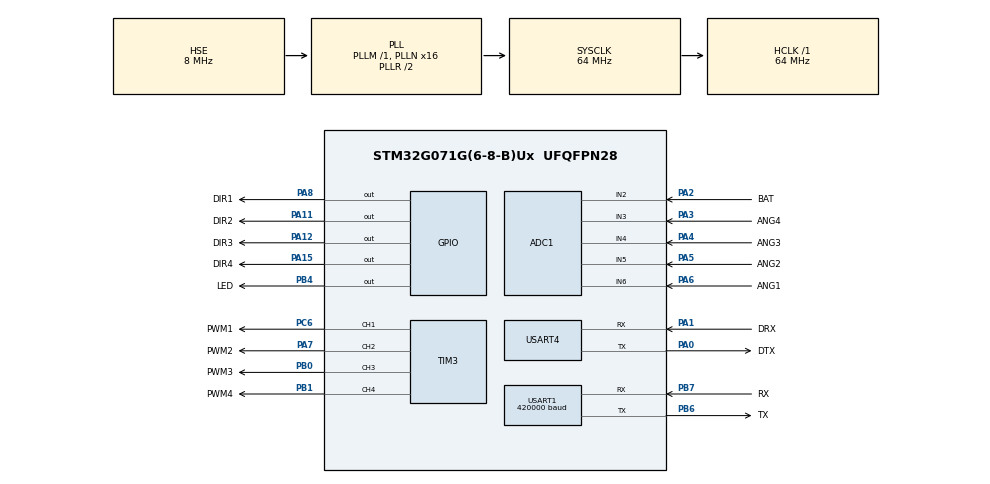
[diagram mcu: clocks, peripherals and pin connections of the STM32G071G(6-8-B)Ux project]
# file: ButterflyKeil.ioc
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ADC1.Channel-1\#ChannelRegularConversion=ADC_CHANNEL_2
ADC1.Channel-3\#ChannelRegularConversion=ADC_CHANNEL_6
ADC1.Channel-4\#ChannelRegularConversion=ADC_CHANNEL_3
ADC1.EOCSelection=ADC_EOC_SINGLE_CONV
ADC1.EnableAnalogWatchDog1=false
ADC1.NbrOfConversion=3
ADC1.NbrOfConversionFlag=1
ADC1.Rank-1\#ChannelRegularConversion=1
ADC1.Rank-3\#ChannelRegularConversion=2
ADC1.Rank-4\#ChannelRegularConversion=3
ADC1.SamplingTime-1\#ChannelRegularConversion=ADC_SAMPLINGTIME_COMMON_1
ADC1.SamplingTime-3\#ChannelRegularConversion=ADC_SAMPLINGTIME_COMMON_2
ADC1.SamplingTime-4\#ChannelRegularConversion=ADC_SAMPLINGTIME_COMMON_2
ADC1.SamplingTimeCommon1=ADC_SAMPLETIME_12CYCLES_5
ADC1.SamplingTimeCommon2=ADC_SAMPLETIME_160CYCLES_5
ADC1.SelectedChannel=ADC_CHANNEL_2|ADC_CHANNEL_3|ADC_CHANNEL_4|ADC_CHANNEL_5|ADC_CHANNEL_6
ADC1.master=1
Dma.Request0=USART1_RX
Dma.USART1_RX.0.Direction=DMA_PERIPH_TO_MEMORY
Dma.USART1_RX.0.EventEnable=DISABLE
Dma.USART1_RX.0.Instance=DMA1_Channel1
Dma.USART1_RX.0.MemDataAlignment=DMA_MDATAALIGN_BYTE
Dma.USART1_RX.0.MemInc=DMA_MINC_ENABLE
Dma.USART1_RX.0.Mode=DMA_CIRCULAR
Dma.USART1_RX.0.PeriphDataAlignment=DMA_PDATAALIGN_BYTE
Dma.USART1_RX.0.PeriphInc=DMA_PINC_DISABLE
Dma.USART1_RX.0.Polarity=HAL_DMAMUX_REQ_GEN_RISING
Dma.USART1_RX.0.Priority=DMA_PRIORITY_MEDIUM
Dma.USART1_RX.0.RequestNumber=1
Dma.USART1_RX.0.SignalID=NONE
Dma.USART1_RX.0.SyncEnable=DISABLE
Dma.USART1_RX.0.SyncPolarity=HAL_DMAMUX_SYNC_NO_EVENT
Dma.USART1_RX.0.SyncRequestNumber=1
Dma.USART1_RX.0.SyncSignalID=NONE
Mcu.Family=STM32G0
Mcu.Name=STM32G071G(6-8-B)Ux
Mcu.Package=UFQFPN28
NVIC.DMA1_Channel1_IRQn=true\:0\:0\:false\:false\:true\:false\:true\:true
NVIC.USART1_IRQn=true\:0\:0\:false\:false\:true\:true\:true\:true
PA0.GPIO_Label=DTX
PA0.Mode=Asynchronous
PA0.Signal=USART4_TX
PA1.GPIO_Label=DRX
PA1.Mode=Asynchronous
PA1.Signal=USART4_RX
PA11\ [PA9].GPIO_Label=DIR2
PA11\ [PA9].Signal=GPIO_Output
PA12\ [PA10].GPIO_Label=DIR3
PA12\ [PA10].Signal=GPIO_Output
PA13.GPIO_Label=SWDIO
PA13.Mode=Serial_Wire
PA13.Signal=SYS_SWDIO
PA14-BOOT0.GPIO_Label=SWCLK
PA14-BOOT0.Mode=Serial_Wire
PA14-BOOT0.Signal=SYS_SWCLK
PA15.GPIO_Label=DIR4
PA15.Signal=GPIO_Output
PA2.GPIO_Label=BAT
PA2.Mode=IN2
PA2.Signal=ADC1_IN2
PA3.GPIO_Label=ANG4
PA3.Mode=IN3
PA3.Signal=ADC1_IN3
PA4.GPIO_Label=ANG3
PA4.Mode=IN4
PA4.Signal=ADC1_IN4
PA5.GPIO_Label=ANG2
PA5.Mode=IN5
PA5.Signal=ADC1_IN5
PA6.GPIO_Label=ANG1
PA6.Mode=IN6
PA6.Signal=ADC1_IN6
PA7.GPIO_Label=PWM2
PA7.Signal=S_TIM3_CH2
PA8.GPIO_Label=DIR1
PA8.Signal=GPIO_Output
PB0.GPIO_Label=PWM3
PB0.Signal=S_TIM3_CH3
PB1.GPIO_Label=PWM4
PB1.Signal=S_TIM3_CH4
PB4.GPIO_Label=LED
PB4.Signal=GPIO_Output
PB6.GPIO_Label=TX
PB6.Mode=Asynchronous
PB6.Signal=USART1_TX
PB7.GPIO_Label=RX
PB7.Mode=Asynchronous
PB7.Signal=USART1_RX
PC14-OSC32_IN\ (PC14).GPIO_Label=OSC_IN
PC14-OSC32_IN\ (PC14).Mode=HSE-External-Clock-Source
PC14-OSC32_IN\ (PC14).Signal=RCC_OSC_IN
PC15-OSC32_OUT\ (PC15).GPIO_Label=OSC_EN
PC15-OSC32_OUT\ (PC15).Mode=OSC enable
PC15-OSC32_OUT\ (PC15).Signal=RCC_OSC_EN
PC6.GPIO_Label=PWM1
PC6.Signal=S_TIM3_CH1
ProjectManager.HeapSize=0x200
ProjectManager.StackSize=0x400
ProjectManager.TargetToolchain=MDK-ARM V5.32
RCC.ADCFreq_Value=64000000
RCC.AHBFreq_Value=64000000
RCC.CortexFreq_Value=64000000
RCC.EXTERNAL_CLOCK_VALUE=48000
RCC.HCLKFreq_Value=64000000
RCC.HSE_VALUE=8000000
RCC.HSI_VALUE=16000000
RCC.LSE_VALUE=32768
RCC.PLLN=16
RCC.PLLSourceVirtual=RCC_PLLSOURCE_HSE
RCC.SYSCLKFreq_VALUE=64000000
RCC.SYSCLKSource=RCC_SYSCLKSOURCE_PLLCLK
RCC.VCOOutputFreq_Value=128000000
SH.S_TIM3_CH1.0=TIM3_CH1,PWM Generation1 CH1
SH.S_TIM3_CH2.0=TIM3_CH2,PWM Generation2 CH2
SH.S_TIM3_CH3.0=TIM3_CH3,PWM Generation3 CH3
SH.S_TIM3_CH4.0=TIM3_CH4,PWM Generation4 CH4
TIM3.Channel-PWM\ Generation1\ CH1=TIM_CHANNEL_1
TIM3.Channel-PWM\ Generation2\ CH2=TIM_CHANNEL_2
TIM3.Channel-PWM\ Generation3\ CH3=TIM_CHANNEL_3
TIM3.Channel-PWM\ Generation4\ CH4=TIM_CHANNEL_4
USART1.BaudRate=420000
USART1.VirtualMode-Asynchronous=VM_ASYNC
USART4.VirtualMode-Asynchronous=VM_ASYNC
board=custom

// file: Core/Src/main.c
/* USER CODE BEGIN Header */
/**
  ******************************************************************************
  * @file           : main.c
  * @brief          : Main program body
  ******************************************************************************
  * @attention
  *
  * Copyright (c) 2026 STMicroelectronics.
  * All rights reserved.
  *
  * This software is licensed under terms that can be found in the LICENSE file
  * in the root directory of this software component.
  * If no LICENSE file comes with this software, it is provided AS-IS.
  *
  ******************************************************************************
  */
/* USER CODE END Header */
#include "main.h"
#include "adc.h"
#include "dma.h"
#include "tim.h"
#include "usart.h"
#include "gpio.h"

/* USER CODE BEGIN Includes */
#include "motor.h"  /* 包含电机控制模块头文件 */
#include "crsf.h"   /* 包含CRSF协议接收模块头文件 */
#include <string.h>  /* 包含字符串处理函数 */
#include <stdio.h>   /* 包含标准输入输出函数 */
/* USER CODE END Includes */

/* USER CODE BEGIN PM */
#define LED_ON()    HAL_GPIO_WritePin(LED_GPIO_Port, LED_Pin, GPIO_PIN_RESET)
#define LED_OFF()   HAL_GPIO_WritePin(LED_GPIO_Port, LED_Pin, GPIO_PIN_SET)
#define LED_TOGGLE() HAL_GPIO_TogglePin(LED_GPIO_Port, LED_Pin)
/* USER CODE END PM */

/* USER CODE BEGIN PV */

/* 电池电压变量 */
float batteryVoltage = 0.0f;
/* 霍尔传感器变量 */
float hallSensorValue = 0.0f;      /* 第一个霍尔传感器 */
float hallSensorValue2 = 0.0f;     /* 第二个霍尔传感器 */
/* 调试用：原始ADC值 */
uint32_t debug_adc_value = 0;
uint32_t debug_hall_adc_value = 0;
uint32_t debug_hall_adc_value2 = 0;
/* 霍尔传感器统计数据 */
float hall_min = 4095.0f;
float hall_max = 0.0f;
float hall_sum_total = 0.0f;
int hall_count = 0;
float hall_avg_total = 0.0f;

/* 电机控制参数 - 可配置 */
float hall_threshold_low = 1.6f;    /* 低位阈值（V） */
float hall_threshold_high = 2.6f;   /* 高位阈值（V） */

/* 电机4霍尔传感器参数 - 独立配置 */
float hall_threshold_low_m4 = 1.5f;    /* 电机4低位阈值（V） */
float hall_threshold_high_m4 = 2.5f;   /* 电机4高位阈值（V） */

/* 定义运行状态 */
typedef enum {
    FLAP_UP,
    FLAP_DOWN
} FlapState_t;

typedef struct {
    float kp;
    float ki;
    float kd;
    float integral;
    float prev_error;
    float output_limit;
    float integral_limit;
} SyncPid_t;

static FlapState_t current_state = FLAP_UP;
static FlapState_t current_state_m4 = FLAP_DOWN;
float k_comp;
float k_comp_m4;
float stand_wing_target_m1 = 2.90f;      /* 立翅目标霍尔电压，可按实测调整 */
float stand_wing_target_m4 = 1.20f;      /* 立翅目标霍尔电压，可按实测调整 */
float stand_wing_deadband = 0.03f;       /* 立翅保持死区 */
float stand_wing_kp = 1800.0f;           /* 立翅位置控制比例系数 */
int16_t stand_wing_min_speed = 120;      /* 立翅最小驱动速度，克服静摩擦 */
int16_t stand_wing_max_speed = 420;      /* 立翅最大驱动速度 */
static uint8_t stand_wing_mode_active = 0;
static float sync_phase_error = 0.0f;
static float sync_pid_output = 0.0f;
static float wing_phase_left = 0.0f;
static float wing_phase_right = 0.0f;
static int16_t sync_speed_motor1 = 0;
static int16_t sync_speed_motor4 = 0;
static uint32_t crsf_rx_recover_tick = 0;

static SyncPid_t flap_sync_pid = {
    .kp = 420.0f,
    .ki = 10.0f,
    .kd = 90.0f,
    .integral = 0.0f,
    .prev_error = 0.0f,
    .output_limit = 220.0f,
    .integral_limit = 0.30f
};
/* USER CODE END PV */

void SystemClock_Config(void);
/* USER CODE BEGIN PFP */
void SendJoystickData(void);
static void InitFlapStates(void);
void Flap_Control_Logic(int16_t base_speed);
void Flap_Control_Logic_Motor4(int16_t base_speed);
static void SyncPid_Reset(SyncPid_t *pid);
static void UpdateStandWingControl(void);
static int16_t CalcStandWingSpeed(float hall_value, float target_value, int8_t hall_polarity);
static void UpdateFlapSyncSpeed(int16_t base_speed, int16_t *speed_m1, int16_t *speed_m4);
void ReadSensors(void);
/* USER CODE END PFP */

int main(void)
{

  /* MCU Configuration--------------------------------------------------------*/

  /* Reset of all peripherals, Initializes the Flash interface and the Systick. */
  HAL_Init();

  /* Configure the system clock */
  SystemClock_Config();

  /* Initialize all configured peripherals */
  MX_GPIO_Init();
  MX_DMA_Init();
  MX_ADC1_Init();
  MX_TIM3_Init();
  MX_USART1_UART_Init();
  MX_USART4_UART_Init();
  /* USER CODE BEGIN 2 */

  /* 初始化电机控制模块 */
  MotorControl_Init();

  /* 初始化CRSF协议接收模块 */
  CRSF_Init();

  /* 执行ADC自校准 */
  if (HAL_ADCEx_Calibration_Start(&hadc1) != HAL_OK)
  {
    Error_Handler();
  }

  /* 点亮LED指示灯，表示系统初始化完成 */
  LED_ON();

  /* 初始化电机控制参数 */
  k_comp=(hall_threshold_high-hall_threshold_low)*0.4*0.5/1000.0f ;
  k_comp_m4=(hall_threshold_high_m4-hall_threshold_low_m4)*0.4*0.5/1000.0f ;

  /* 根据上电时霍尔位置初始化两个翅膀的拍动方向 */
  ReadSensors();
  InitFlapStates();

  /* USER CODE END 2 */

  /* Infinite loop */
  while (1)
  {

    /* USER CODE BEGIN 3 */
    if ((HAL_GetTick() - CRSF_GetLastRxTick()) > 500U &&
        (HAL_GetTick() - crsf_rx_recover_tick) > 200U)
    {
      CRSF_RestartRx();
      crsf_rx_recover_tick = HAL_GetTick();
    }

    ReadSensors();

    if (crsf_data.F == 1) {
      if (stand_wing_mode_active == 0) {
        stand_wing_mode_active = 1;
        SyncPid_Reset(&flap_sync_pid);
      }
      UpdateStandWingControl();
    } else {
      if (stand_wing_mode_active == 1) {
        stand_wing_mode_active = 0;
        InitFlapStates();
      }

      /* 基于霍尔传感器值的扑翼控制 */
      /* 当霍尔传感器值在低位死区上限和高位死区下限之间时，电机正转 */
      /* 当霍尔传感器值低于低位阈值或高于高位阈值时，电机反转 */
      /* 当霍尔传感器值在死区范围内时，保持当前方向不变 */
      /* 速度由摇杆控制 */
      int16_t base_speed = (int16_t)(crsf_data.Left_Y * 10.0f);
      UpdateFlapSyncSpeed(base_speed, &sync_speed_motor1, &sync_speed_motor4);
      Flap_Control_Logic(sync_speed_motor1);
      Flap_Control_Logic_Motor4(sync_speed_motor4);
    }
    /* 发送摇杆数据到USART1 */
    SendJoystickData();
    /* 延时1ms，控制频率约200Hz */
    HAL_Delay(1);

  }
  /* USER CODE END 3 */
}

void SystemClock_Config(void)
{
  RCC_OscInitTypeDef RCC_OscInitStruct = {0};
  RCC_ClkInitTypeDef RCC_ClkInitStruct = {0};

  /** Configure the main internal regulator output voltage
  */
  HAL_PWREx_ControlVoltageScaling(PWR_REGULATOR_VOLTAGE_SCALE1);

  /** Initializes the RCC Oscillators according to the specified parameters
  * in the RCC_OscInitTypeDef structure.
  */
  RCC_OscInitStruct.OscillatorType = RCC_OSCILLATORTYPE_HSE;
  RCC_OscInitStruct.HSEState = RCC_HSE_BYPASS;
  RCC_OscInitStruct.PLL.PLLState = RCC_PLL_ON;
  RCC_OscInitStruct.PLL.PLLSource = RCC_PLLSOURCE_HSE;
  RCC_OscInitStruct.PLL.PLLM = RCC_PLLM_DIV1;
  RCC_OscInitStruct.PLL.PLLN = 16;
  RCC_OscInitStruct.PLL.PLLP = RCC_PLLP_DIV2;
  RCC_OscInitStruct.PLL.PLLQ = RCC_PLLQ_DIV2;
  RCC_OscInitStruct.PLL.PLLR = RCC_PLLR_DIV2;
  if (HAL_RCC_OscConfig(&RCC_OscInitStruct) != HAL_OK)
  {
    Error_Handler();
  }

  /** Initializes the CPU, AHB and APB buses clocks
  */
  RCC_ClkInitStruct.ClockType = RCC_CLOCKTYPE_HCLK|RCC_CLOCKTYPE_SYSCLK
                              |RCC_CLOCKTYPE_PCLK1;
  RCC_ClkInitStruct.SYSCLKSource = RCC_SYSCLKSOURCE_PLLCLK;
  RCC_ClkInitStruct.AHBCLKDivider = RCC_SYSCLK_DIV1;
  RCC_ClkInitStruct.APB1CLKDivider = RCC_HCLK_DIV1;

  if (HAL_RCC_ClockConfig(&RCC_ClkInitStruct, FLASH_LATENCY_2) != HAL_OK)
  {
    Error_Handler();
  }
}

/* USER CODE BEGIN 4 */

/**
  * @brief  读取电池电压和霍尔传感器值
  * @param  无
  * @retval 无
  */
void ReadSensors(void)
{
  uint32_t adc_buf[3] = {0};

  HAL_ADC_Start(&hadc1);

  // 等待并读取通道2（电池）
  if (HAL_ADC_PollForConversion(&hadc1, 10) == HAL_OK)
  {
    adc_buf[0] = HAL_ADC_GetValue(&hadc1);
    __HAL_ADC_CLEAR_FLAG(&hadc1, ADC_FLAG_EOC); // 清标志
  }

  // 等待并读取通道3（霍尔1）
  if (HAL_ADC_PollForConversion(&hadc1, 10) == HAL_OK)
  {
    adc_buf[1] = HAL_ADC_GetValue(&hadc1);
    __HAL_ADC_CLEAR_FLAG(&hadc1, ADC_FLAG_EOC); // 清标志
  }

  // 等待并读取通道4（霍尔2）
  if (HAL_ADC_PollForConversion(&hadc1, 10) == HAL_OK)
  {
    adc_buf[2] = HAL_ADC_GetValue(&hadc1);
    __HAL_ADC_CLEAR_FLAG(&hadc1, ADC_FLAG_EOC); // 清标志
  }

  HAL_ADC_Stop(&hadc1);

  debug_adc_value = adc_buf[0];
  debug_hall_adc_value = adc_buf[1];
  debug_hall_adc_value2 = adc_buf[2];

  batteryVoltage = (float)adc_buf[0] * 3.3f / 4095.0f * 2.598f;
  hallSensorValue = (float)adc_buf[1] * 3.3f / 4095.0f;
  hallSensorValue2 = (float)adc_buf[2] * 3.3f / 4095.0f;
}
/**
  * @brief  发送摇杆数据到USART1
  * @param  无
  * @retval 无
  */
void SendJoystickData(void)
{
  char buffer[150];

  /* 按照CSV格式格式化数据 - 添加原始ADC值和霍尔传感器数据用于调试 */
  sprintf(buffer, "%.1f,%.1f,%.1f,%.1f,%.1f,%.1f,%d,%d,%d,%d,%d,%d,%.2f,%lu,%.3f,%lu,%.3f,%lu,%.3f,%.3f,%.3f,%d,%d\r\n",
          crsf_data.Left_X, crsf_data.Left_Y, crsf_data.Right_X, crsf_data.Right_Y,
          crsf_data.S1, crsf_data.S2,
          crsf_data.A, crsf_data.B, crsf_data.C, crsf_data.D, crsf_data.E, crsf_data.F,
          batteryVoltage, debug_adc_value,
          hallSensorValue, debug_hall_adc_value,
          hallSensorValue2, debug_hall_adc_value2,
          sync_phase_error, wing_phase_left, wing_phase_right,
          current_state, current_state_m4);

  /* 使用非阻塞方式发送数据，设置较短的超时时间 */
  HAL_UART_Transmit(&huart1, (uint8_t*)buffer, strlen(buffer), 10);
}

static float ClampFloat(float value, float min_value, float max_value)
{
    if (value < min_value) {
        return min_value;
    }
    if (value > max_value) {
        return max_value;
    }
    return value;
}

static int16_t ClampMotorSpeed(int32_t speed)
{
    if (speed < 0) {
        return 0;
    }
    if (speed > 1000) {
        return 1000;
    }
    return (int16_t)speed;
}

static int16_t ClampSignedMotorSpeed(int32_t speed)
{
    if (speed < -1000) {
        return -1000;
    }
    if (speed > 1000) {
        return 1000;
    }
    return (int16_t)speed;
}

static float WrapPhaseError(float error)
{
    if (error > 0.5f) {
        return error - 1.0f;
    }
    if (error < -0.5f) {
        return error + 1.0f;
    }
    return error;
}

static float WrapPhase01(float phase)
{
    if (phase >= 1.0f) {
        return phase - 1.0f;
    }
    if (phase < 0.0f) {
        return phase + 1.0f;
    }
    return phase;
}

static void SyncPid_Reset(SyncPid_t *pid)
{
    pid->integral = 0.0f;
    pid->prev_error = 0.0f;
}

static float SyncPid_Update(SyncPid_t *pid, float error)
{
    float derivative = error - pid->prev_error;

    pid->integral += error;
    pid->integral = ClampFloat(pid->integral, -pid->integral_limit, pid->integral_limit);

    pid->prev_error = error;

    return ClampFloat((pid->kp * error) + (pid->ki * pid->integral) + (pid->kd * derivative),
                      -pid->output_limit,
                      pid->output_limit);
}

static float GetWingPhase(float hall_value, float threshold_low, float threshold_high, FlapState_t state)
{
    float span = threshold_high - threshold_low;
    float normalized;

    if (span <= 0.01f) {
        return 0.0f;
    }

    normalized = ClampFloat((hall_value - threshold_low) / span, 0.0f, 1.0f);

    if (state == FLAP_UP) {
        return normalized * 0.5f;
    }

    return 0.5f + ((1.0f - normalized) * 0.5f);
}

static void InitFlapStates(void)
{
    float hall_mid = (hall_threshold_low + hall_threshold_high) * 0.5f;
    float hall_mid_m4 = (hall_threshold_low_m4 + hall_threshold_high_m4) * 0.5f;

    current_state = (hallSensorValue >= hall_mid) ? FLAP_DOWN : FLAP_UP;
    current_state_m4 = (hallSensorValue2 >= hall_mid_m4) ? FLAP_DOWN : FLAP_UP;

    SyncPid_Reset(&flap_sync_pid);
}

static int16_t CalcStandWingSpeed(float hall_value, float target_value, int8_t hall_polarity)
{
    float error = target_value - hall_value;
    float abs_error = (error >= 0.0f) ? error : -error;
    int32_t command;

    if (abs_error <= stand_wing_deadband) {
        return 0;
    }

    command = (int32_t)(error * stand_wing_kp);

    if (command > 0 && command < stand_wing_min_speed) {
        command = stand_wing_min_speed;
    } else if (command < 0 && command > -stand_wing_min_speed) {
        command = -stand_wing_min_speed;
    }

    if (command > stand_wing_max_speed) {
        command = stand_wing_max_speed;
    } else if (command < -stand_wing_max_speed) {
        command = -stand_wing_max_speed;
    }

    return ClampSignedMotorSpeed((int32_t)hall_polarity * command);
}

static void UpdateStandWingControl(void)
{
    int16_t speed_m1 = CalcStandWingSpeed(hallSensorValue, stand_wing_target_m1, 1);
    int16_t speed_m4 = CalcStandWingSpeed(hallSensorValue2, stand_wing_target_m4, -1);

    sync_phase_error = 0.0f;
    sync_pid_output = 0.0f;
    wing_phase_left = GetWingPhase(hallSensorValue, hall_threshold_low, hall_threshold_high, current_state);
    wing_phase_right = GetWingPhase(hallSensorValue2, hall_threshold_low_m4, hall_threshold_high_m4, current_state_m4);

    Motor_SetSpeed(MOTOR_1, speed_m1);
    Motor_SetSpeed(MOTOR_4, speed_m4);
}

static void UpdateFlapSyncSpeed(int16_t base_speed, int16_t *speed_m1, int16_t *speed_m4)
{
    const int16_t sync_enable_speed = 80;
    const float sync_deadband = 0.01f;
    int16_t speed_abs = (base_speed >= 0) ? base_speed : (int16_t)(-base_speed);
    float abs_phase_error;
    float target_right_phase;

    wing_phase_left = GetWingPhase(hallSensorValue, hall_threshold_low, hall_threshold_high, current_state);
    wing_phase_right = GetWingPhase(hallSensorValue2, hall_threshold_low_m4, hall_threshold_high_m4, current_state_m4);

    if (speed_abs < sync_enable_speed) {
        SyncPid_Reset(&flap_sync_pid);
        sync_phase_error = 0.0f;
        sync_pid_output = 0.0f;
        *speed_m1 = speed_abs;
        *speed_m4 = speed_abs;
        return;
    }

    /* 蝴蝶双翼需要反相同步：右翼目标相位始终比左翼超前半个周期。 */
    target_right_phase = WrapPhase01(wing_phase_left + 0.5f);
    sync_phase_error = WrapPhaseError(target_right_phase - wing_phase_right);
    abs_phase_error = (sync_phase_error >= 0.0f) ? sync_phase_error : -sync_phase_error;

    if (abs_phase_error < sync_deadband) {
        sync_phase_error = 0.0f;
    }

    sync_pid_output = SyncPid_Update(&flap_sync_pid, sync_phase_error);

    /* 误差为正说明右翼落后于反相目标，需要加快右翼并稍微减慢左翼。 */
    *speed_m1 = ClampMotorSpeed((int32_t)speed_abs - (int32_t)sync_pid_output);
    *speed_m4 = ClampMotorSpeed((int32_t)speed_abs + (int32_t)sync_pid_output);
}

void Flap_Control_Logic(int16_t speed)
{
    static int filter_count = 0;
    const int FILTER_THRESHOLD = 2; // 略微减小滤波，提高响应速度

    // 1. 计算绝对速度，用于线性补偿
    uint16_t abs_speed = (speed > 0) ? speed : -speed;

    // 2. 计算动态阈值 (线性缩减边界)
    // 假设 speed 最大为 1000，k_comp 为 0.0005，则最大偏移量为 0.5V
    float dyn_threshold_high = hall_threshold_high - (k_comp * (float)abs_speed);
    float dyn_threshold_low = hall_threshold_low + (k_comp * (float)abs_speed);

    switch (current_state)
    {
        case FLAP_UP:
            Motor_SetSpeed(MOTOR_1, speed);
            // 使用动态高位阈值
            if (hallSensorValue > dyn_threshold_high) {
                filter_count++;
                if(filter_count >= FILTER_THRESHOLD) {
                    current_state = FLAP_DOWN;
                    filter_count = 0;
                }
            } else {
                filter_count = 0;
            }
            break;

        case FLAP_DOWN:
            Motor_SetSpeed(MOTOR_1, -speed);
            // 使用动态低位阈值
            if (hallSensorValue < dyn_threshold_low) {
                filter_count++;
                if(filter_count >= FILTER_THRESHOLD) {
                    current_state = FLAP_UP;
                    filter_count = 0;
                }
            } else {
                filter_count = 0;
            }
            break;
    }
}

void Flap_Control_Logic_Motor4(int16_t speed)
{
    static int filter_count_m4 = 0;
    const int FILTER_THRESHOLD_M4 = 2;

    uint16_t abs_speed_m4 = (speed > 0) ? speed : -speed;

    float dyn_threshold_high_m4 = hall_threshold_high_m4 - (k_comp_m4 * (float)abs_speed_m4);
    float dyn_threshold_low_m4 = hall_threshold_low_m4 + (k_comp_m4 * (float)abs_speed_m4);

    switch (current_state_m4)
    {
        case FLAP_UP:
            Motor_SetSpeed(MOTOR_4, -speed);
            if (hallSensorValue2 > dyn_threshold_high_m4) {
                filter_count_m4++;
                if(filter_count_m4 >= FILTER_THRESHOLD_M4) {
                    current_state_m4 = FLAP_DOWN;
                    filter_count_m4 = 0;
                }
            } else {
                filter_count_m4 = 0;
            }
            break;

        case FLAP_DOWN:
            Motor_SetSpeed(MOTOR_4, speed);
            if (hallSensorValue2 < dyn_threshold_low_m4) {
                filter_count_m4++;
                if(filter_count_m4 >= FILTER_THRESHOLD_M4) {
                    current_state_m4 = FLAP_UP;
                    filter_count_m4 = 0;
                }
            } else {
                filter_count_m4 = 0;
            }
            break;
    }
}
/* USER CODE END 4 */

void Error_Handler(void)
{
  __disable_irq();
  while (1)
  {
  }
}
